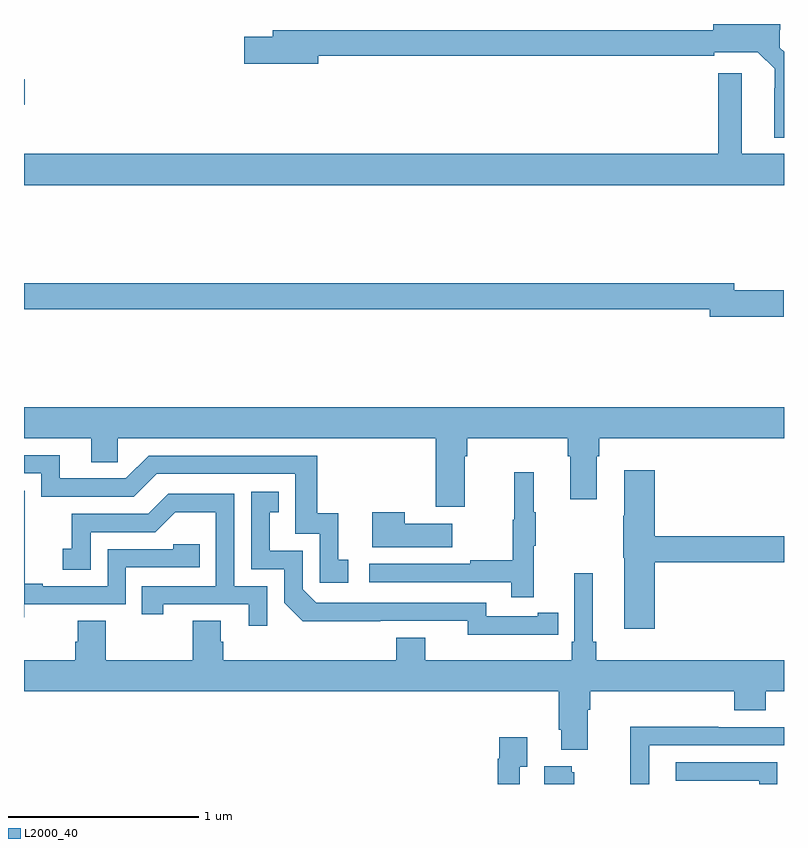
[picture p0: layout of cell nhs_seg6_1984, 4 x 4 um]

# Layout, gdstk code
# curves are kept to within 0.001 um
import gdstk
lib = gdstk.Library(unit=1e-6, precision=1e-09)
def R(c, l, rs):  # rectangles x0, y0, x1, y1
    for r in rs: c.add(gdstk.rectangle(r[:2], r[2:], *l))
def P(c, l, *ps):  # polygons
    for p in ps: c.add(gdstk.Polygon(p, *l))
L2000_40 = (2000, 40)

nhs_seg6_1984 = lib.new_cell('nhs_seg6_1984')
R(nhs_seg6_1984, L2000_40, [(229,965.075,229.003,965.21)])
P(nhs_seg6_1984, L2000_40, [(233,965.353),(232.977,965.376),(232.977,965.47),(232.981,965.47),(232.981,965.5),(232.628,965.5),(232.628,965.468),(230.309,965.468),(230.309,965.432),(230.16,965.432),(230.16,965.29),(230.548,965.29),(230.548,965.332),(232.632,965.332),(232.632,965.351),(232.863,965.351),(232.95,965.264),(232.949,964.901),(233,964.901)],
  [(233,964.816),(232.777,964.816),(232.777,965.242),(232.655,965.242),(232.655,964.816),(229,964.816),(229,964.652),(233,964.652)],
  [(232.999,964.1),(232.738,964.1),(232.738,964.136),(229,964.136),(229,964),(232.61,964),(232.61,963.958),(232.999,963.958)],
  [(231.319,963.224),(231.332,963.224),(231.332,963.32),(231.863,963.32),(231.863,963.224),(231.875,963.224),(231.875,963),(232.015,963),(232.015,963.224),(232.028,963.224),(232.028,963.32),(233,963.32),(233,963.484),(229,963.484),(229,963.32),(229.355,963.32),(229.355,963.193),(229.494,963.193),(229.494,963.32),(231.167,963.32),(231.167,962.958),(231.319,962.958)],
  [(230.707,962.679),(230.654,962.679),(230.654,962.926),(230.543,962.926),(230.543,963.228),(229.656,963.228),(229.536,963.108),(229.189,963.108),(229.189,963.231),(229,963.231),(229,963.135),(229.092,963.135),(229.092,963.012),(229.578,963.012),(229.698,963.132),(230.427,963.132),(230.427,962.817),(230.556,962.817),(230.556,962.559),(230.707,962.559)],
  [(232.319,962.668),(233,962.668),(233,962.804),(232.319,962.804),(232.319,963.151),(232.16,963.151),(232.16,962.912),(232.153,962.912),(232.153,962.691),(232.16,962.691),(232.16,962.316),(232.319,962.316)],
  [(231.683,962.755),(231.694,962.755),(231.694,962.929),(231.683,962.929),(231.683,963.142),(231.58,963.142),(231.58,962.892),(231.573,962.892),(231.573,962.678),(231.349,962.678),(231.349,962.658),(230.817,962.658),(230.817,962.562),(231.565,962.562),(231.565,962.484),(231.683,962.484)],
  [(229.002,962.445),(229.536,962.445),(229.536,962.64),(229.925,962.64),(229.925,962.763),(229.785,962.763),(229.785,962.736),(229.44,962.736),(229.44,962.541),(229.099,962.541),(229.099,962.554),(229.004,962.554),(229.004,962.837),(229.005,962.837),(229.005,963.043),(229,963.043),(229,962.377),(229.002,962.377)],
  [(231.704,962.286),(231.812,962.286),(231.812,962.402),(231.704,962.402),(231.704,962.382),(231.432,962.382),(231.432,962.454),(230.538,962.454),(230.466,962.526),(230.466,962.727),(230.293,962.727),(230.293,962.931),(230.342,962.931),(230.342,963.037),(230.196,963.037),(230.196,962.631),(230.37,962.631),(230.37,962.454),(230.468,962.357),(231.336,962.358),(231.336,962.285)],
  [(230.28,962.541),(230.106,962.541),(230.106,963.027),(229.76,963.027),(229.655,962.922),(229.252,962.922),(229.252,962.737),(229.203,962.737),(229.203,962.628),(229.35,962.628),(229.35,962.826),(229.692,962.826),(229.796,962.93),(230.01,962.93),(230.01,962.541),(229.621,962.541),(229.621,962.394),(229.732,962.394),(229.732,962.445),(230.183,962.445),(230.183,962.334),(230.28,962.334)],
  [(231.253,962.869),(231.005,962.869),(231.005,962.929),(230.834,962.929),(230.834,962.747),(231.253,962.747)],
  [(231.967,961.892),(231.98,961.892),(231.98,961.988),(232.739,961.988),(232.739,961.889),(232.904,961.889),(232.904,961.988),(233,961.988),(233,962.152),(232.013,962.152),(232.013,962.248),(231.994,962.248),(231.994,962.608),(231.897,962.608),(231.897,962.248),(231.884,962.248),(231.884,962.152),(231.112,962.152),(231.112,962.269),(230.96,962.269),(230.96,962.152),(230.048,962.152),(230.048,962.25),(230.035,962.25),(230.035,962.36),(229.888,962.36),(229.888,962.152),(229.431,962.152),(229.431,962.36),(229.283,962.36),(229.283,962.25),(229.271,962.25),(229.271,962.152),(229,962.152),(229,961.988),(231.815,961.988),(231.815,961.786),(231.827,961.786),(231.827,961.679),(231.967,961.679)],
  [(232.29,961.704),(233,961.704),(233,961.8),(232.655,961.8),(232.655,961.802),(232.192,961.802),(232.192,961.5),(232.29,961.5)],
  [(231.609,961.591),(231.649,961.591),(231.649,961.747),(231.501,961.747),(231.501,961.634),(231.493,961.634),(231.493,961.5),(231.609,961.5)],
  [(232.965,961.614),(232.431,961.614),(232.431,961.518),(232.869,961.518),(232.869,961.5),(232.965,961.5)],
  [(231.895,961.563),(231.884,961.563),(231.884,961.594),(231.737,961.594),(231.737,961.5),(231.895,961.5)])

lib.write_gds('nhs_seg6_1984.gds')
